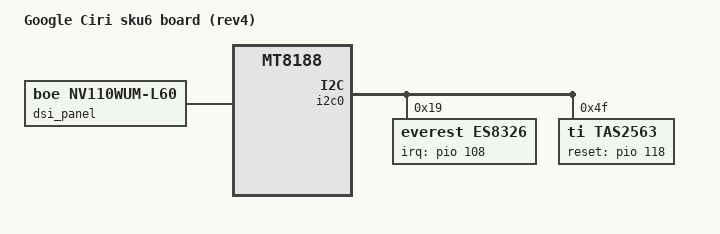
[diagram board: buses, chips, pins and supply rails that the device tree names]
// SPDX-License-Identifier: (GPL-2.0 OR MIT)
/*
 * Copyright 2024 Google LLC
 */
/dts-v1/;
#include "mt8188-geralt-ciri.dtsi"

/ {
	model = "Google Ciri sku6 board (rev4)";
	compatible = "google,ciri-sku6", "google,ciri", "mediatek,mt8188";
};

&dsi_panel {
	compatible = "boe,nv110wum-l60", "himax,hx83102";
};

&i2c0 {
	/delete-node/ audio-codec@1a;
	/delete-node/ amplifier@38;
	/delete-node/ amplifier@39;

	es8326: audio-codec@19 {
		compatible = "everest,es8326";
		reg = <0x19>;
		interrupts-extended = <&pio 108 IRQ_TYPE_LEVEL_LOW>;
		pinctrl-names = "default";
		pinctrl-0 = <&audio_codec_pins>;
		#sound-dai-cells = <0>;
		everest,jack-pol = [0e];
		everest,interrupt-clk = [00];
	};

	tas2563: amplifier@4f {
		compatible = "ti,tas2563", "ti,tas2781";
		reg = <0x4f>, <0x4c>; /* left / right channel */
		reset-gpios = <&pio 118 GPIO_ACTIVE_HIGH>;
		#sound-dai-cells = <0>;
	};
};

&sound {
	compatible = "mediatek,mt8188-es8326";
	model = "mt8188_tas2563_8326";

	audio-routing =
		"ETDM1_OUT", "ETDM_SPK_PIN",
		"ETDM2_OUT", "ETDM_HP_PIN",
		"ETDM1_IN", "ETDM_SPK_PIN",
		"ETDM2_IN", "ETDM_HP_PIN",
		"ADDA Capture", "MTKAIF_PIN",
		"Headphone Jack", "HPOL",
		"Headphone Jack", "HPOR",
		"MIC1", "Headset Mic";

	dai-link-1 {
		codec {
			sound-dai = <&tas2563>;
		};
	};

	dai-link-2 {
		codec {
			sound-dai = <&es8326>;
		};
	};

	dai-link-3 {
		codec {
			sound-dai = <&es8326>;
		};
	};
};
